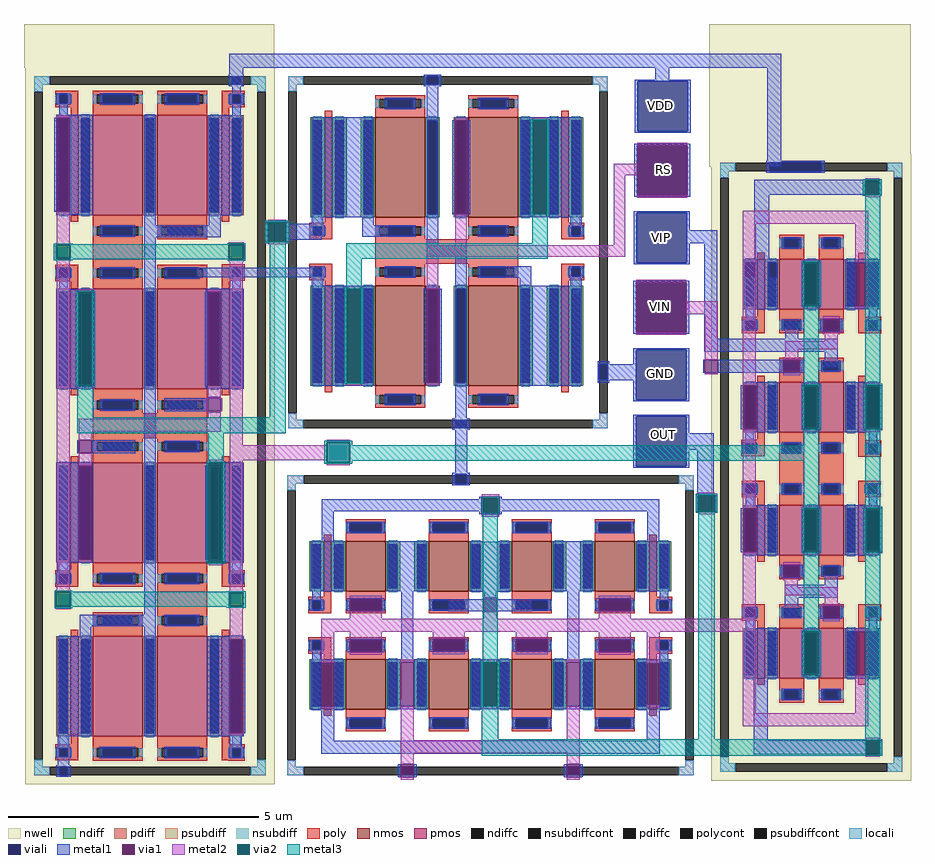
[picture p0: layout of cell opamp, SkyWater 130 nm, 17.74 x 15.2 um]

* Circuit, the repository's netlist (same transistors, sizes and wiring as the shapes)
** sch_path: /home/bagatraya/icpolytron/opamp/mag/opamp.sch
.subckt opamp VDD GND OUT RS VIP VIN
*.PININFO VDD:B GND:B OUT:B RS:B VIP:B VIN:B
x1 net3 net2 RS GND nmoscs
x2 net4 OUT GND nmosdif
x3 VDD net1 net2 net3 pmoscs
x4 VDD net1 VIN VIP net4 OUT pmosdif
.ends

* expanding   symbol:  nmoscs.sym # of pins=4
** sym_path: /home/bagatraya/icpolytron/opamp/mag/nmoscs.sym
** sch_path: /home/bagatraya/icpolytron/opamp/mag/nmoscs.sch
.subckt nmoscs D4 D3 RS GND
*.PININFO RS:B GND:B D3:B D4:B
XM3 D3 D3 GND GND sky130_fd_pr__nfet_01v8 L=1 W=2 nf=1 m=2
XM4 D4 D3 RS GND sky130_fd_pr__nfet_01v8 L=1 W=2 nf=1 m=2
XM1 D3 D3 D3 GND sky130_fd_pr__nfet_01v8 L=0.15 W=2 nf=1 m=2
XM2 D4 D4 D4 GND sky130_fd_pr__nfet_01v8 L=0.15 W=2 nf=1 m=2
.ends


* expanding   symbol:  nmosdif.sym # of pins=3
** sym_path: /home/bagatraya/icpolytron/opamp/mag/nmosdif.sym
** sch_path: /home/bagatraya/icpolytron/opamp/mag/nmosdif.sch
.subckt nmosdif D6 OUT GND
*.PININFO GND:B OUT:O D6:B
XM8 D6 D6 GND GND sky130_fd_pr__nfet_01v8 L=0.8 W=1 nf=1 m=4
XM9 OUT D6 GND GND sky130_fd_pr__nfet_01v8 L=0.8 W=1 nf=1 m=4
XM3 OUT OUT OUT GND sky130_fd_pr__nfet_01v8 L=0.15 W=1 nf=1 m=2
XM4 D6 D6 D6 GND sky130_fd_pr__nfet_01v8 L=0.15 W=1 nf=1 m=2
.ends


* expanding   symbol:  pmoscs.sym # of pins=4
** sym_path: /home/bagatraya/icpolytron/opamp/mag/pmoscs.sym
** sch_path: /home/bagatraya/icpolytron/opamp/mag/pmoscs.sch
.subckt pmoscs VDD D5 D1 D2
*.PININFO VDD:B D5:B D2:B D1:B
XM2 D2 D2 VDD VDD sky130_fd_pr__pfet_01v8 L=1 W=2 nf=1 m=2
XM1 D1 D2 VDD VDD sky130_fd_pr__pfet_01v8 L=1 W=2 nf=1 m=2
XM5 D5 D2 VDD VDD sky130_fd_pr__pfet_01v8 L=1 W=2 nf=1 m=2
XM3 D5 D5 D5 VDD sky130_fd_pr__pfet_01v8 L=0.15 W=2 nf=1 m=2
XM4 D1 D1 D1 VDD sky130_fd_pr__pfet_01v8 L=0.15 W=2 nf=1 m=2
XM6 D2 D2 D2 VDD sky130_fd_pr__pfet_01v8 L=0.15 W=2 nf=1 m=2
XM7 VDD VDD VDD VDD sky130_fd_pr__pfet_01v8 L=0.15 W=2 nf=1 m=2
XM8 VDD VDD VDD VDD sky130_fd_pr__pfet_01v8 L=1 W=2 nf=1 m=2
.ends


* expanding   symbol:  pmosdif.sym # of pins=6
** sym_path: /home/bagatraya/icpolytron/opamp/mag/pmosdif.sym
** sch_path: /home/bagatraya/icpolytron/opamp/mag/pmosdif.sch
.subckt pmosdif VDD D5 VIN VIP D6 OUT
*.PININFO VIN:I VIP:I OUT:O VDD:B D5:B D6:B
XM6 D6 VIN D5 VDD sky130_fd_pr__pfet_01v8 L=0.5 W=1 nf=1 m=4
XM7 OUT VIP D5 VDD sky130_fd_pr__pfet_01v8 L=0.5 W=1 nf=1 m=4
XM1 D6 D6 D6 VDD sky130_fd_pr__pfet_01v8 L=0.15 W=1 nf=1 m=4
XM2 OUT OUT OUT VDD sky130_fd_pr__pfet_01v8 L=0.15 W=1 nf=1 m=4
.ends

.end

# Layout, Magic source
magic
tech sky130A
magscale 1 2
<< nwell >>
rect -323 2866 678 3039
rect 2418 2469 3224 3040
<< viali >>
rect 2131 2612 2331 2812
rect 2130 2355 2330 2555
rect 2127 2085 2327 2285
rect 2125 1807 2325 2007
rect 1977 1617 2012 1679
rect 2125 1537 2325 1737
rect 2125 1271 2325 1471
rect 1402 1202 1448 1239
<< metal1 >>
rect 498 2866 2706 2922
rect 498 2798 554 2866
rect 2201 2818 2257 2866
rect 2119 2812 2343 2818
rect 2119 2612 2131 2812
rect 2331 2612 2343 2812
rect 2119 2606 2343 2612
rect 2118 2555 2342 2561
rect 2118 2355 2130 2555
rect 2330 2355 2342 2555
rect 2650 2470 2706 2866
rect 2118 2349 2342 2355
rect 2115 2285 2339 2291
rect 642 2169 652 2248
rect 726 2241 736 2248
rect 726 2178 868 2241
rect 726 2169 736 2178
rect 2115 2085 2127 2285
rect 2327 2215 2339 2285
rect 2327 2163 2450 2215
rect 2327 2085 2339 2163
rect 2115 2079 2339 2085
rect 368 2028 884 2066
rect 2113 2007 2337 2013
rect 2113 1807 2125 2007
rect 2325 1807 2337 2007
rect 2113 1801 2337 1807
rect 2398 1781 2450 2163
rect 2113 1737 2337 1743
rect 1971 1679 2018 1691
rect 2113 1679 2125 1737
rect 1971 1617 1977 1679
rect 2012 1617 2125 1679
rect 1971 1615 2125 1617
rect 1971 1605 2018 1615
rect 2113 1537 2125 1615
rect 2325 1537 2337 1737
rect 2398 1729 2773 1781
rect 2393 1646 2399 1698
rect 2451 1646 2797 1698
rect 2113 1531 2337 1537
rect 2113 1471 2337 1477
rect 1402 1245 1450 1458
rect 2113 1271 2125 1471
rect 2325 1404 2337 1471
rect 2325 1338 2436 1404
rect 2325 1271 2337 1338
rect 2113 1265 2337 1271
rect 1390 1239 1460 1245
rect 1390 1202 1402 1239
rect 1448 1202 1460 1239
rect 1390 1196 1460 1202
rect 2370 1156 2436 1338
rect 2363 1090 2373 1156
rect 2439 1090 2449 1156
<< via1 >>
rect 2130 2355 2330 2555
rect 652 2169 726 2248
rect 2125 1807 2325 2007
rect 2399 1646 2451 1698
rect 2373 1090 2439 1156
<< metal2 >>
rect 2130 2555 2330 2565
rect 2035 2435 2130 2481
rect 652 2248 726 2258
rect 652 2159 726 2169
rect 2035 2156 2081 2435
rect 2130 2345 2330 2355
rect 1402 2110 2081 2156
rect 2125 2007 2325 2017
rect 2325 1879 2451 1931
rect 2125 1797 2325 1807
rect 2399 1698 2451 1879
rect 2721 1739 2772 1772
rect 2399 1640 2451 1646
rect 887 1368 980 1378
rect 507 1295 887 1356
rect 887 1276 980 1286
rect 2373 1156 2439 1166
rect 2369 1095 2373 1151
rect 2439 1095 2443 1151
rect 2373 1080 2439 1090
rect 2167 610 2603 662
<< via2 >>
rect 652 2169 726 2248
rect 887 1286 980 1368
rect 2373 1090 2439 1156
<< metal3 >>
rect 642 2248 736 2253
rect 642 2169 652 2248
rect 726 2169 736 2248
rect 642 2164 736 2169
rect 660 1467 723 2164
rect 413 1404 723 1467
rect 877 1368 990 1373
rect 877 1286 887 1368
rect 980 1355 990 1368
rect 980 1294 2856 1355
rect 980 1286 990 1294
rect 877 1281 990 1286
rect 2363 1156 2449 1161
rect 2363 1090 2373 1156
rect 2439 1090 2449 1156
rect 2363 1085 2449 1090
rect 1508 180 1574 312
rect 2373 180 2439 1085
rect 1508 114 3044 180
use nmoscs  nmoscs_0
transform 1 0 1024 0 1 2233
box -290 -815 988 605
use nmosdif  nmosdif_0
transform 1 0 906 0 1 684
box -176 -666 1450 552
use pmoscs  pmoscs_0
transform 1 0 -353 0 1 480
box 34 -480 1032 2387
use pmosdif  pmosdif_0
transform 1 0 2101 0 1 1610
box 324 -1596 1124 912
<< labels >>
flabel viali 2232 1397 2234 1398 0 FreeSans 800 0 0 0 OUT
port 0 nsew
flabel viali 2221 1640 2223 1641 0 FreeSans 800 0 0 0 GND
port 1 nsew
flabel via1 2222 1912 2222 1912 0 FreeSans 800 0 0 0 VIN
port 2 nsew
flabel viali 2127 2085 2327 2285 0 FreeSans 800 0 0 0 VIP
port 3 nsew
flabel via1 2234 2458 2234 2458 0 FreeSans 800 0 0 0 RS
port 4 nsew
flabel viali 2224 2716 2224 2716 0 FreeSans 800 0 0 0 VDD
port 6 nsew
<< end >>

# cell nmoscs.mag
magic
tech sky130A
magscale 1 2
<< psubdiff >>
rect -290 565 -230 599
rect 928 565 988 599
rect -290 539 -256 565
rect 954 539 988 565
rect -290 -775 -256 -749
rect 954 -775 988 -749
rect -290 -809 -230 -775
rect 928 -809 988 -775
<< psubdiffcont >>
rect -230 565 928 599
rect -290 -749 -256 539
rect 954 -749 988 539
rect -230 -809 928 -775
<< poly >>
rect -144 12 -114 34
rect -206 -4 -114 12
rect -206 -38 -190 -4
rect -156 -38 -114 -4
rect -206 -54 -114 -38
rect 802 12 832 34
rect 802 -4 894 12
rect 802 -38 844 -4
rect 878 -38 894 -4
rect 802 -54 894 -38
rect 58 -151 630 -54
rect -206 -167 -114 -151
rect -206 -201 -190 -167
rect -156 -201 -114 -167
rect -206 -217 -114 -201
rect -144 -239 -114 -217
rect 802 -167 894 -151
rect 802 -201 844 -167
rect 878 -201 894 -167
rect 802 -217 894 -201
rect 802 -243 832 -217
<< polycont >>
rect -190 -38 -156 -4
rect 844 -38 878 -4
rect -190 -201 -156 -167
rect 844 -201 878 -167
<< locali >>
rect -290 565 -230 599
rect 928 565 988 599
rect -290 539 -256 565
rect 954 539 988 565
rect -190 -4 -156 34
rect 844 -4 878 34
rect -206 -38 -190 -4
rect -156 -38 -140 -4
rect 828 -38 844 -4
rect 878 -38 894 -4
rect -206 -201 -190 -167
rect -156 -201 -140 -167
rect 828 -201 844 -167
rect 878 -201 894 -167
rect -190 -239 -156 -201
rect 844 -269 878 -201
rect -290 -775 -256 -749
rect 954 -775 988 -749
rect -290 -809 -230 -775
rect 928 -809 988 -775
<< viali >>
rect 264 565 310 599
rect -190 -38 -156 -4
rect 844 -38 878 -4
rect -190 -201 -156 -167
rect 844 -201 878 -167
rect 378 -809 424 -775
<< metal1 >>
rect 252 599 322 605
rect 252 565 264 599
rect 310 565 322 599
rect 252 559 322 565
rect 264 434 310 559
rect -196 34 52 434
rect 636 422 884 434
rect 365 46 375 422
rect 427 46 437 422
rect 636 46 688 422
rect 744 46 884 422
rect 636 34 884 46
rect -196 2 -150 34
rect 6 2 52 34
rect -202 -4 -144 2
rect -202 -38 -190 -4
rect -156 -38 -144 -4
rect -202 -44 -144 -38
rect 6 -44 109 2
rect 264 -78 310 34
rect 838 2 884 34
rect 832 -4 890 2
rect 832 -38 844 -4
rect 878 -38 890 -4
rect 832 -44 890 -38
rect 264 -124 424 -78
rect -202 -167 -144 -161
rect -202 -201 -190 -167
rect -156 -201 -144 -167
rect -202 -207 -144 -201
rect -196 -239 -150 -207
rect 378 -239 424 -124
rect 592 -207 682 -161
rect 832 -167 890 -161
rect 832 -201 844 -167
rect 878 -201 890 -167
rect 832 -207 890 -201
rect 636 -239 682 -207
rect 838 -239 884 -207
rect -196 -251 52 -239
rect -196 -627 -56 -251
rect 0 -627 52 -251
rect 251 -627 261 -251
rect 313 -627 323 -251
rect -196 -639 52 -627
rect 636 -639 884 -239
rect 378 -769 424 -639
rect 366 -775 436 -769
rect 366 -809 378 -775
rect 424 -809 436 -775
rect 366 -815 436 -809
<< via1 >>
rect 375 46 427 422
rect 688 46 744 422
rect -56 -627 0 -251
rect 261 -627 313 -251
<< metal2 >>
rect 375 422 427 432
rect 375 36 427 46
rect 688 422 744 432
rect 688 36 744 46
rect 378 -78 424 36
rect 264 -124 424 -78
rect 264 -241 310 -124
rect -56 -251 0 -241
rect -56 -637 0 -627
rect 261 -251 313 -241
rect 261 -637 313 -627
<< via2 >>
rect 688 46 744 422
rect -56 -627 0 -251
<< metal3 >>
rect 678 422 754 427
rect 678 46 688 422
rect 744 46 754 422
rect 678 41 754 46
rect 685 -70 747 41
rect -59 -132 747 -70
rect -59 -246 3 -132
rect -66 -251 10 -246
rect -66 -627 -56 -251
rect 0 -627 10 -251
rect -66 -632 10 -627
use sky130_fd_pr__nfet_01v8_6C7GCL  sky130_fd_pr__nfet_01v8_6C7GCL_0
transform 1 0 -129 0 1 234
box -73 -226 73 226
use sky130_fd_pr__nfet_01v8_6C7GCL  sky130_fd_pr__nfet_01v8_6C7GCL_1
transform 1 0 817 0 1 234
box -73 -226 73 226
use sky130_fd_pr__nfet_01v8_6C7GCL  sky130_fd_pr__nfet_01v8_6C7GCL_2
transform 1 0 -129 0 1 -439
box -73 -226 73 226
use sky130_fd_pr__nfet_01v8_6C7GCL  sky130_fd_pr__nfet_01v8_6C7GCL_3
transform 1 0 817 0 1 -439
box -73 -226 73 226
use sky130_fd_pr__nfet_01v8_8UM39F  sky130_fd_pr__nfet_01v8_8UM39F_0
transform 1 0 344 0 1 234
box -344 -288 344 288
use sky130_fd_pr__nfet_01v8_8UM39F  sky130_fd_pr__nfet_01v8_8UM39F_1
transform 1 0 344 0 1 -439
box -344 -288 344 288
<< labels >>
flabel metal3 725 -20 725 -20 0 FreeSans 800 0 0 0 D4
port 0 nsew
flabel metal1 27 1 27 1 0 FreeSans 800 0 0 0 D3
port 1 nsew
flabel metal2 401 -14 401 -14 0 FreeSans 800 0 0 0 RS
port 2 nsew
flabel metal1 288 501 288 501 0 FreeSans 800 0 0 0 GND
port 3 nsew
<< end >>

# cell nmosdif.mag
magic
tech sky130A
magscale 1 2
<< psubdiff >>
rect -176 518 -111 552
rect 1390 518 1450 552
rect -176 492 -142 518
rect 1416 492 1450 518
rect -176 -614 -142 -588
rect 1416 -614 1450 -588
rect -176 -648 -111 -614
rect 1390 -648 1450 -614
<< psubdiffcont >>
rect -111 518 1390 552
rect -176 -588 -142 492
rect 1416 -588 1450 492
rect -111 -648 1390 -614
<< poly >>
rect -30 66 0 88
rect -92 50 0 66
rect -92 16 -76 50
rect -42 16 0 50
rect -92 0 0 16
rect 1272 66 1302 88
rect 1272 50 1364 66
rect 1272 16 1314 50
rect 1348 16 1364 50
rect 1272 0 1364 16
rect -30 -1 0 0
rect -92 -112 0 -96
rect -92 -146 -76 -112
rect -42 -146 0 -112
rect -92 -162 0 -146
rect -30 -184 0 -162
rect 1272 -112 1364 -96
rect 1272 -146 1314 -112
rect 1348 -146 1364 -112
rect 1272 -162 1364 -146
rect 1272 -184 1302 -162
<< polycont >>
rect -76 16 -42 50
rect 1314 16 1348 50
rect -76 -146 -42 -112
rect 1314 -146 1348 -112
<< locali >>
rect -176 518 -111 552
rect 1390 518 1450 552
rect -176 492 -142 518
rect 1416 492 1450 518
rect -76 50 -42 100
rect 1314 50 1348 100
rect -92 16 -76 50
rect -42 16 -26 50
rect 1298 16 1314 50
rect 1348 16 1364 50
rect -92 -146 -76 -112
rect -42 -146 -26 -112
rect 1298 -146 1314 -112
rect 1348 -146 1364 -112
rect -76 -186 -42 -146
rect 1314 -196 1348 -146
rect -176 -614 -142 -588
rect 1416 -614 1450 -588
rect -176 -648 -111 -614
rect 1390 -648 1450 -614
<< viali >>
rect -76 16 -42 50
rect 1314 16 1348 50
rect -76 -146 -42 -112
rect 1314 -146 1348 -112
rect 277 -614 330 -613
rect 941 -614 994 -613
rect 277 -648 330 -614
rect 941 -648 994 -614
<< metal1 >>
rect 591 455 601 466
rect -39 407 601 455
rect -39 288 9 407
rect 591 396 601 407
rect 671 455 681 466
rect 1064 455 1312 456
rect 671 407 1312 455
rect 671 396 681 407
rect 1263 288 1312 407
rect -82 88 52 288
rect 224 88 384 288
rect -76 56 -42 88
rect -88 50 -30 56
rect -88 16 -76 50
rect -42 16 -30 50
rect -88 10 -30 16
rect 64 7 74 59
rect 202 7 212 59
rect -88 -112 -30 -106
rect -88 -146 -76 -112
rect -42 -146 -30 -112
rect -88 -152 -30 -146
rect -76 -186 -42 -152
rect 64 -157 74 -105
rect 202 -157 212 -105
rect 280 -184 328 88
rect 556 86 716 286
rect 888 88 1048 288
rect 1220 88 1354 288
rect 612 57 660 86
rect 604 55 610 57
rect 470 7 610 55
rect 604 5 610 7
rect 662 55 668 57
rect 662 7 801 55
rect 662 5 668 7
rect 396 -155 406 -103
rect 534 -155 544 -103
rect 728 -155 738 -103
rect 866 -155 876 -103
rect 944 -184 992 88
rect 1060 7 1070 59
rect 1198 7 1208 59
rect 1314 56 1348 88
rect 1302 50 1360 56
rect 1302 16 1314 50
rect 1348 16 1360 50
rect 1302 10 1360 16
rect 1060 -157 1070 -105
rect 1198 -157 1208 -105
rect 1302 -112 1360 -106
rect 1302 -146 1314 -112
rect 1348 -146 1360 -112
rect 1302 -152 1360 -146
rect -82 -198 52 -186
rect -82 -374 -41 -198
rect 11 -374 52 -198
rect -82 -386 52 -374
rect 224 -196 384 -184
rect 224 -372 278 -196
rect 330 -372 384 -196
rect 224 -384 384 -372
rect 556 -196 716 -184
rect 556 -372 608 -196
rect 664 -372 716 -196
rect 556 -384 716 -372
rect 888 -196 1048 -184
rect 1314 -186 1348 -152
rect 888 -372 942 -196
rect 994 -372 1048 -196
rect 888 -384 1048 -372
rect 1220 -200 1354 -186
rect 1220 -367 1261 -200
rect 1313 -367 1354 -200
rect 1220 -386 1354 -367
rect -41 -510 11 -386
rect 1261 -510 1313 -386
rect -41 -562 1313 -510
rect 267 -607 277 -604
rect 265 -654 277 -607
rect 329 -607 339 -604
rect 932 -607 942 -604
rect 329 -613 342 -607
rect 330 -648 342 -613
rect 267 -656 277 -654
rect 329 -654 342 -648
rect 929 -613 942 -607
rect 994 -607 1004 -604
rect 929 -648 941 -613
rect 929 -654 942 -648
rect 329 -656 339 -654
rect 932 -656 942 -654
rect 994 -654 1006 -607
rect 994 -656 1004 -654
<< via1 >>
rect 601 396 671 466
rect 74 7 202 59
rect 74 -157 202 -105
rect 610 5 662 57
rect 406 -155 534 -103
rect 738 -155 866 -103
rect 1070 7 1198 59
rect 1070 -157 1198 -105
rect -41 -374 11 -198
rect 278 -372 330 -196
rect 608 -372 664 -196
rect 942 -372 994 -196
rect 1261 -367 1313 -200
rect 277 -613 329 -604
rect 277 -648 329 -613
rect 277 -656 329 -648
rect 942 -613 994 -604
rect 942 -648 994 -613
rect 942 -656 994 -648
<< metal2 >>
rect 601 466 671 476
rect 601 386 671 396
rect 74 59 202 69
rect 74 -22 202 7
rect 610 57 662 63
rect 610 -22 662 5
rect 1070 59 1198 69
rect 1070 -22 1198 7
rect -41 -74 1313 -22
rect -41 -198 11 -74
rect 74 -105 202 -74
rect 74 -167 202 -157
rect 406 -103 534 -74
rect 406 -165 534 -155
rect 738 -103 866 -74
rect 738 -165 866 -155
rect 1070 -105 1198 -74
rect 1070 -167 1198 -157
rect 278 -196 330 -186
rect -41 -382 11 -374
rect 277 -372 278 -348
rect 277 -382 330 -372
rect 608 -196 664 -186
rect 608 -382 664 -372
rect 942 -196 994 -186
rect 277 -509 329 -382
rect 942 -509 994 -372
rect 1261 -200 1313 -74
rect 1261 -378 1313 -367
rect 277 -561 994 -509
rect 277 -604 329 -561
rect 277 -666 329 -656
rect 942 -604 994 -561
rect 942 -666 994 -656
<< via2 >>
rect 606 401 666 461
rect 608 -372 664 -196
<< metal3 >>
rect 601 461 671 466
rect 601 401 606 461
rect 666 401 671 461
rect 601 396 671 401
rect 606 -191 666 396
rect 598 -196 674 -191
rect 598 -372 608 -196
rect 664 -372 674 -196
rect 598 -377 674 -372
use sky130_fd_pr__nfet_01v8_6H9P4D  sky130_fd_pr__nfet_01v8_6H9P4D_0
transform 1 0 -15 0 1 188
box -73 -126 73 126
use sky130_fd_pr__nfet_01v8_6H9P4D  sky130_fd_pr__nfet_01v8_6H9P4D_1
transform 1 0 -15 0 1 -284
box -73 -126 73 126
use sky130_fd_pr__nfet_01v8_6H9P4D  sky130_fd_pr__nfet_01v8_6H9P4D_2
transform 1 0 1287 0 1 188
box -73 -126 73 126
use sky130_fd_pr__nfet_01v8_6H9P4D  sky130_fd_pr__nfet_01v8_6H9P4D_3
transform 1 0 1287 0 1 -284
box -73 -126 73 126
use sky130_fd_pr__nfet_01v8_DB328X  sky130_fd_pr__nfet_01v8_DB328X_0
transform 1 0 636 0 1 188
box -636 -188 636 188
use sky130_fd_pr__nfet_01v8_DB328X  sky130_fd_pr__nfet_01v8_DB328X_1
transform 1 0 636 0 1 -284
box -636 -188 636 188
<< labels >>
flabel metal3 632 -135 632 -135 0 FreeSans 480 0 0 0 OUT
port 1 nsew
flabel metal2 135 -48 135 -48 0 FreeSans 480 0 0 0 D6
port 2 nsew
flabel metal2 968 -454 968 -454 0 FreeSans 480 0 0 0 GND
port 0 nsew
<< end >>

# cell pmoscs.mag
magic
tech sky130A
magscale 1 2
<< nwell >>
rect 34 -480 1032 2387
<< nsubdiff >>
rect 70 2317 132 2351
rect 936 2317 996 2351
rect 70 2289 104 2317
rect 962 2289 996 2317
rect 70 -410 104 -382
rect 962 -410 996 -382
rect 70 -444 132 -410
rect 936 -444 996 -410
<< nsubdiffcont >>
rect 132 2317 936 2351
rect 70 -382 104 2289
rect 962 -382 996 2289
rect 132 -444 936 -410
<< poly >>
rect 154 2277 246 2293
rect 154 2243 170 2277
rect 204 2243 246 2277
rect 154 2227 246 2243
rect 216 2196 246 2227
rect 820 2277 912 2293
rect 820 2243 862 2277
rect 896 2243 912 2277
rect 820 2227 912 2243
rect 820 2196 850 2227
rect 304 1598 504 1699
rect 154 1582 246 1598
rect 154 1548 170 1582
rect 204 1548 246 1582
rect 154 1532 246 1548
rect 216 1501 246 1532
rect 820 1583 912 1599
rect 820 1549 862 1583
rect 896 1549 912 1583
rect 820 1533 912 1549
rect 820 1502 850 1533
rect 304 903 762 1004
rect 216 375 246 406
rect 154 359 246 375
rect 154 325 170 359
rect 204 325 246 359
rect 154 309 246 325
rect 820 375 850 406
rect 820 359 912 375
rect 820 325 862 359
rect 896 325 912 359
rect 820 309 912 325
rect 562 208 762 309
rect 216 -320 246 -278
rect 154 -336 246 -320
rect 154 -370 170 -336
rect 204 -370 246 -336
rect 154 -385 246 -370
rect 820 -320 850 -289
rect 820 -336 912 -320
rect 820 -370 862 -336
rect 896 -370 912 -336
rect 820 -385 912 -370
rect 846 -386 912 -385
<< polycont >>
rect 170 2243 204 2277
rect 862 2243 896 2277
rect 170 1548 204 1582
rect 862 1549 896 1583
rect 170 325 204 359
rect 862 325 896 359
rect 170 -370 204 -336
rect 862 -370 896 -336
<< locali >>
rect 70 2317 132 2351
rect 936 2317 996 2351
rect 70 2289 104 2317
rect 962 2289 996 2317
rect 154 2243 170 2277
rect 204 2243 220 2277
rect 846 2243 862 2277
rect 896 2243 912 2277
rect 170 2196 204 2243
rect 862 2200 896 2243
rect 158 1796 218 2196
rect 154 1548 170 1582
rect 204 1548 220 1582
rect 846 1549 862 1583
rect 896 1549 912 1583
rect 170 1502 204 1548
rect 862 1502 896 1549
rect 160 1102 212 1502
rect 246 1102 306 1502
rect 766 1102 818 1502
rect 854 1102 906 1502
rect 160 408 212 808
rect 250 408 302 808
rect 768 408 820 808
rect 170 359 204 408
rect 862 359 896 418
rect 154 325 170 359
rect 204 325 220 359
rect 846 325 862 359
rect 896 325 912 359
rect 170 -336 204 -277
rect 850 -288 902 112
rect 862 -336 896 -288
rect 154 -370 170 -336
rect 204 -370 220 -336
rect 846 -370 862 -336
rect 896 -370 912 -336
rect 70 -410 104 -382
rect 962 -410 996 -382
rect 70 -444 132 -410
rect 936 -444 996 -410
<< viali >>
rect 861 2351 896 2352
rect 861 2317 896 2351
rect 170 2243 204 2277
rect 862 2243 896 2277
rect 170 1548 204 1582
rect 862 1549 896 1583
rect 170 325 204 359
rect 862 325 896 359
rect 170 -370 204 -336
rect 862 -370 896 -336
rect 170 -444 204 -410
<< metal1 >>
rect 849 2352 908 2358
rect 849 2317 861 2352
rect 896 2317 908 2352
rect 849 2311 908 2317
rect 862 2283 896 2311
rect 158 2277 216 2283
rect 158 2243 170 2277
rect 204 2243 216 2277
rect 158 2237 216 2243
rect 850 2277 908 2283
rect 850 2243 862 2277
rect 896 2243 908 2277
rect 850 2237 908 2243
rect 170 2198 204 2237
rect 165 2197 216 2198
rect 158 2185 304 2197
rect 151 1809 161 2185
rect 213 1809 304 2185
rect 158 1797 304 1809
rect 510 1756 556 2198
rect 862 2196 896 2237
rect 768 1796 902 2196
rect 768 1756 816 1796
rect 510 1708 816 1756
rect 158 1582 216 1588
rect 158 1548 170 1582
rect 204 1548 216 1582
rect 158 1542 216 1548
rect 170 1501 204 1542
rect 159 1488 306 1500
rect 159 1112 248 1488
rect 300 1112 310 1488
rect 159 1102 306 1112
rect 243 844 249 896
rect 301 844 475 896
rect 158 794 305 808
rect 158 418 249 794
rect 301 418 305 794
rect 158 407 305 418
rect 163 406 215 407
rect 248 406 304 407
rect 164 365 215 406
rect 158 359 216 365
rect 158 325 170 359
rect 204 325 216 359
rect 158 319 216 325
rect 510 198 556 1708
rect 850 1583 908 1589
rect 850 1549 862 1583
rect 896 1549 908 1583
rect 850 1543 908 1549
rect 862 1502 896 1543
rect 762 1501 908 1502
rect 756 1489 908 1501
rect 755 1113 765 1489
rect 817 1113 908 1489
rect 756 1101 908 1113
rect 765 1063 817 1069
rect 591 1011 765 1063
rect 765 1005 817 1011
rect 850 806 901 807
rect 761 794 908 806
rect 754 418 764 794
rect 816 418 908 794
rect 761 407 908 418
rect 850 406 904 407
rect 851 365 904 406
rect 850 359 908 365
rect 850 325 862 359
rect 896 325 908 359
rect 850 319 908 325
rect 252 152 556 198
rect 252 111 298 152
rect 164 -289 298 111
rect 510 -289 556 152
rect 853 111 901 115
rect 762 100 908 111
rect 762 -276 853 100
rect 905 -276 915 100
rect 762 -289 908 -276
rect 164 -330 210 -289
rect 853 -330 901 -289
rect 158 -336 216 -330
rect 158 -370 170 -336
rect 204 -370 216 -336
rect 158 -376 216 -370
rect 850 -336 908 -330
rect 850 -370 862 -336
rect 896 -370 908 -336
rect 850 -376 908 -370
rect 165 -404 210 -376
rect 158 -410 216 -404
rect 158 -444 170 -410
rect 204 -444 216 -410
rect 158 -450 216 -444
<< via1 >>
rect 161 1809 213 2185
rect 248 1112 300 1488
rect 249 844 301 896
rect 249 418 301 794
rect 765 1113 817 1489
rect 765 1011 817 1063
rect 764 418 816 794
rect 853 -276 905 100
<< metal2 >>
rect 161 2185 213 2195
rect 161 1687 213 1809
rect 159 1677 215 1687
rect 159 1611 215 1621
rect 849 1679 909 1688
rect 160 298 212 1611
rect 849 1610 909 1619
rect 247 1489 303 1499
rect 247 1112 248 1113
rect 300 1112 303 1113
rect 247 1103 303 1112
rect 765 1489 817 1499
rect 248 1102 300 1103
rect 765 1063 817 1113
rect 759 1011 765 1063
rect 817 1011 823 1063
rect 765 981 817 1011
rect 249 929 817 981
rect 249 896 301 929
rect 249 794 301 844
rect 768 807 825 817
rect 249 408 301 418
rect 764 794 768 804
rect 764 408 768 418
rect 768 396 825 406
rect 157 289 217 298
rect 853 297 905 1610
rect 157 220 217 229
rect 851 287 907 297
rect 851 221 907 231
rect 853 100 905 221
rect 853 -284 905 -276
<< via2 >>
rect 159 1621 215 1677
rect 849 1619 909 1679
rect 247 1488 303 1489
rect 247 1113 248 1488
rect 248 1113 300 1488
rect 300 1113 303 1488
rect 768 794 825 807
rect 768 418 816 794
rect 816 418 825 794
rect 768 406 825 418
rect 157 229 217 289
rect 851 231 907 287
<< metal3 >>
rect 149 1679 225 1682
rect 844 1679 914 1684
rect 149 1677 849 1679
rect 149 1621 159 1677
rect 215 1621 849 1677
rect 149 1619 849 1621
rect 909 1619 914 1679
rect 149 1616 225 1619
rect 844 1614 914 1619
rect 237 1489 313 1494
rect 237 1113 247 1489
rect 303 1113 313 1489
rect 237 1108 313 1113
rect 243 987 306 1108
rect 243 924 829 987
rect 766 812 829 924
rect 758 807 835 812
rect 758 406 768 807
rect 825 406 835 807
rect 758 401 835 406
rect 152 289 222 294
rect 841 289 917 292
rect 152 229 157 289
rect 217 287 917 289
rect 217 231 851 287
rect 907 231 917 287
rect 217 229 917 231
rect 152 224 222 229
rect 841 226 917 229
use sky130_fd_pr__pfet_01v8_2ZH9AN  sky130_fd_pr__pfet_01v8_2ZH9AN_0
transform 1 0 231 0 1 606
box -109 -262 109 262
use sky130_fd_pr__pfet_01v8_2ZH9AN  sky130_fd_pr__pfet_01v8_2ZH9AN_1
transform 1 0 231 0 1 -89
box -109 -262 109 262
use sky130_fd_pr__pfet_01v8_2ZH9AN  sky130_fd_pr__pfet_01v8_2ZH9AN_2
transform 1 0 835 0 1 -89
box -109 -262 109 262
use sky130_fd_pr__pfet_01v8_2ZH9AN  sky130_fd_pr__pfet_01v8_2ZH9AN_3
transform 1 0 835 0 1 606
box -109 -262 109 262
use sky130_fd_pr__pfet_01v8_2ZH9AN  sky130_fd_pr__pfet_01v8_2ZH9AN_4
transform 1 0 835 0 1 1301
box -109 -262 109 262
use sky130_fd_pr__pfet_01v8_2ZH9AN  sky130_fd_pr__pfet_01v8_2ZH9AN_5
transform 1 0 835 0 1 1996
box -109 -262 109 262
use sky130_fd_pr__pfet_01v8_2ZH9AN  sky130_fd_pr__pfet_01v8_2ZH9AN_6
transform 1 0 231 0 1 1996
box -109 -262 109 262
use sky130_fd_pr__pfet_01v8_2ZH9AN  sky130_fd_pr__pfet_01v8_2ZH9AN_7
transform 1 0 231 0 1 1301
box -109 -262 109 262
use sky130_fd_pr__pfet_01v8_SDE6B7  sky130_fd_pr__pfet_01v8_SDE6B7_0
transform 1 0 533 0 1 1996
box -323 -300 323 300
use sky130_fd_pr__pfet_01v8_SDE6B7  sky130_fd_pr__pfet_01v8_SDE6B7_1
transform 1 0 533 0 1 1301
box -323 -300 323 300
use sky130_fd_pr__pfet_01v8_SDE6B7  sky130_fd_pr__pfet_01v8_SDE6B7_2
transform 1 0 533 0 1 606
box -323 -300 323 300
use sky130_fd_pr__pfet_01v8_SDE6B7  sky130_fd_pr__pfet_01v8_SDE6B7_3
transform 1 0 533 0 1 -89
box -323 -300 323 300
<< labels >>
flabel metal3 782 862 782 862 0 FreeSans 800 0 0 0 D1
port 2 nsew
flabel metal1 878 2302 878 2302 0 FreeSans 800 0 0 0 VDD
port 4 nsew
flabel via1 792 1048 792 1048 0 FreeSans 800 0 0 0 D2
port 1 nsew
flabel metal2 880 904 880 904 0 FreeSans 800 0 0 0 D5
port 0 nsew
<< end >>

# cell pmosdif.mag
magic
tech sky130A
magscale 1 2
<< nwell >>
rect 324 -1596 1124 912
<< nsubdiff >>
rect 360 842 420 876
rect 1028 842 1088 876
rect 360 816 394 842
rect 1054 816 1088 842
rect 360 -1526 394 -1500
rect 1054 -1526 1088 -1500
rect 360 -1560 420 -1526
rect 1028 -1560 1088 -1526
<< nsubdiffcont >>
rect 420 842 1028 876
rect 360 -1500 394 816
rect 1054 -1500 1088 816
rect 420 -1560 1028 -1526
<< poly >>
rect 508 259 538 289
rect 447 243 538 259
rect 447 209 463 243
rect 497 209 538 243
rect 447 193 538 209
rect 912 259 942 301
rect 912 243 1004 259
rect 912 209 954 243
rect 988 209 1004 243
rect 912 193 1004 209
rect 508 -233 538 -203
rect 445 -249 538 -233
rect 445 -283 461 -249
rect 495 -283 538 -249
rect 445 -299 538 -283
rect 912 -234 942 -202
rect 912 -250 1004 -234
rect 912 -284 954 -250
rect 988 -284 1004 -250
rect 596 -397 696 -299
rect 754 -397 854 -299
rect 912 -300 1004 -284
rect 446 -413 538 -397
rect 446 -447 462 -413
rect 496 -447 538 -413
rect 446 -463 538 -447
rect 508 -494 538 -463
rect 912 -413 1003 -397
rect 912 -447 953 -413
rect 987 -447 1003 -413
rect 912 -463 1003 -447
rect 912 -494 942 -463
rect 446 -906 538 -890
rect 446 -940 462 -906
rect 496 -940 538 -906
rect 446 -956 538 -940
rect 508 -987 538 -956
rect 912 -906 1004 -890
rect 912 -940 954 -906
rect 988 -940 1004 -906
rect 912 -956 1004 -940
rect 912 -987 942 -956
<< polycont >>
rect 463 209 497 243
rect 954 209 988 243
rect 461 -283 495 -249
rect 954 -284 988 -250
rect 462 -447 496 -413
rect 953 -447 987 -413
rect 462 -940 496 -906
rect 954 -940 988 -906
<< locali >>
rect 360 842 420 876
rect 1028 842 1088 876
rect 360 816 394 842
rect 1054 816 1088 842
rect 462 243 497 302
rect 954 243 988 302
rect 447 209 463 243
rect 497 209 513 243
rect 938 209 954 243
rect 988 209 1004 243
rect 461 -249 495 -190
rect 445 -283 461 -249
rect 495 -283 511 -249
rect 954 -250 988 -190
rect 938 -284 954 -250
rect 988 -284 1004 -250
rect 446 -447 462 -413
rect 496 -447 512 -413
rect 937 -447 953 -413
rect 987 -447 1003 -413
rect 462 -506 496 -447
rect 954 -506 989 -447
rect 446 -940 462 -906
rect 496 -940 512 -906
rect 938 -940 954 -906
rect 988 -940 1004 -906
rect 462 -999 496 -940
rect 954 -999 988 -940
rect 360 -1526 394 -1500
rect 1054 -1526 1088 -1500
rect 360 -1560 420 -1526
rect 1028 -1560 1088 -1526
<< viali >>
rect 557 876 767 877
rect 557 842 767 876
rect 463 209 497 243
rect 954 209 988 243
rect 461 -283 495 -249
rect 954 -284 988 -250
rect 462 -447 496 -413
rect 953 -447 987 -413
rect 462 -940 496 -906
rect 954 -940 988 -906
<< metal1 >>
rect 545 877 779 883
rect 545 842 557 877
rect 767 842 779 877
rect 545 836 779 842
rect 496 804 1002 808
rect 496 748 941 804
rect 997 748 1007 804
rect 496 418 556 748
rect 860 478 994 490
rect 456 289 590 418
rect 687 302 697 478
rect 753 302 763 478
rect 860 302 901 478
rect 953 302 994 478
rect 860 290 994 302
rect 462 249 497 289
rect 451 243 509 249
rect 451 209 463 243
rect 497 209 509 243
rect 451 203 509 209
rect 620 171 672 243
rect 760 200 770 252
rect 838 200 848 252
rect 954 249 988 290
rect 942 243 1000 249
rect 942 209 954 243
rect 988 209 1000 243
rect 942 203 1000 209
rect 620 119 830 171
rect 602 36 612 88
rect 680 36 690 88
rect 778 57 830 119
rect 456 -14 590 -2
rect 860 -14 994 -2
rect 443 -190 453 -14
rect 505 -190 590 -14
rect 687 -190 697 -14
rect 753 -190 763 -14
rect 860 -190 943 -14
rect 999 -190 1009 -14
rect 456 -202 590 -190
rect 860 -202 994 -190
rect 461 -243 495 -202
rect 449 -249 507 -243
rect 954 -244 988 -202
rect 449 -283 461 -249
rect 495 -283 507 -249
rect 449 -289 507 -283
rect 942 -250 1000 -244
rect 942 -284 954 -250
rect 988 -284 1000 -250
rect 942 -290 1000 -284
rect 450 -413 508 -407
rect 450 -447 462 -413
rect 496 -447 508 -413
rect 450 -453 508 -447
rect 941 -413 999 -407
rect 941 -447 953 -413
rect 987 -447 999 -413
rect 941 -453 999 -447
rect 462 -494 496 -453
rect 954 -494 989 -453
rect 456 -506 590 -494
rect 860 -506 994 -494
rect 443 -682 453 -506
rect 505 -682 590 -506
rect 687 -682 697 -506
rect 753 -682 763 -506
rect 860 -682 943 -506
rect 999 -682 1009 -506
rect 456 -694 590 -682
rect 860 -694 994 -682
rect 602 -784 612 -732
rect 680 -784 690 -732
rect 779 -812 831 -775
rect 619 -864 830 -812
rect 619 -898 673 -864
rect 450 -906 508 -900
rect 450 -940 462 -906
rect 496 -940 508 -906
rect 450 -946 508 -940
rect 462 -987 496 -946
rect 616 -947 676 -898
rect 760 -949 770 -897
rect 838 -949 848 -897
rect 942 -906 1000 -900
rect 942 -940 954 -906
rect 988 -940 1000 -906
rect 942 -946 1000 -940
rect 954 -987 988 -946
rect 456 -1187 590 -987
rect 860 -999 994 -987
rect 687 -1175 697 -999
rect 753 -1175 763 -999
rect 860 -1175 901 -999
rect 953 -1175 994 -999
rect 860 -1187 994 -1175
rect 495 -1435 551 -1187
rect 495 -1491 943 -1435
rect 999 -1491 1009 -1435
<< via1 >>
rect 941 748 997 804
rect 697 302 753 478
rect 901 302 953 478
rect 770 200 838 252
rect 612 36 680 88
rect 453 -190 505 -14
rect 697 -190 753 -14
rect 943 -190 999 -14
rect 453 -682 505 -506
rect 697 -682 753 -506
rect 943 -682 999 -506
rect 612 -784 680 -732
rect 770 -949 838 -897
rect 697 -1175 753 -999
rect 901 -1175 953 -999
rect 943 -1491 999 -1435
<< metal2 >>
rect 941 804 997 814
rect 941 739 997 748
rect 955 738 997 739
rect 451 632 953 684
rect 451 -4 503 632
rect 697 478 753 488
rect 697 292 753 302
rect 901 478 953 632
rect 901 292 953 302
rect 770 252 838 262
rect 770 190 838 200
rect 778 162 830 190
rect 620 129 830 162
rect 620 98 672 129
rect 612 88 680 98
rect 612 26 680 36
rect 451 -14 505 -4
rect 451 -190 453 -14
rect 451 -200 505 -190
rect 697 -14 753 -4
rect 697 -200 753 -190
rect 943 -14 999 -4
rect 943 -200 999 -190
rect 451 -496 503 -200
rect 451 -506 505 -496
rect 451 -682 453 -506
rect 451 -692 505 -682
rect 697 -506 753 -496
rect 697 -692 753 -682
rect 943 -506 999 -496
rect 943 -692 999 -682
rect 451 -1326 503 -692
rect 612 -732 680 -722
rect 612 -794 680 -784
rect 619 -822 671 -794
rect 619 -855 831 -822
rect 779 -887 831 -855
rect 770 -897 838 -887
rect 770 -959 838 -949
rect 697 -999 753 -989
rect 697 -1185 753 -1175
rect 901 -999 953 -989
rect 901 -1326 953 -1175
rect 451 -1378 953 -1326
rect 943 -1433 999 -1425
rect 941 -1435 1001 -1433
rect 941 -1491 943 -1435
rect 999 -1491 1001 -1435
rect 941 -1493 1001 -1491
rect 943 -1501 999 -1493
<< via2 >>
rect 941 748 997 804
rect 697 302 753 478
rect 697 -190 753 -14
rect 943 -190 999 -14
rect 697 -682 753 -506
rect 943 -682 999 -506
rect 697 -1175 753 -999
rect 943 -1491 999 -1435
<< metal3 >>
rect 931 804 1007 809
rect 931 748 941 804
rect 997 748 1007 804
rect 931 743 1007 748
rect 687 478 763 483
rect 687 302 697 478
rect 753 302 763 478
rect 687 297 763 302
rect 694 -9 755 297
rect 941 -9 1001 743
rect 687 -14 763 -9
rect 687 -190 697 -14
rect 753 -190 763 -14
rect 687 -195 763 -190
rect 933 -14 1009 -9
rect 933 -190 943 -14
rect 999 -190 1009 -14
rect 933 -195 1009 -190
rect 694 -501 755 -195
rect 941 -501 1001 -195
rect 687 -506 763 -501
rect 687 -682 697 -506
rect 753 -682 763 -506
rect 687 -687 763 -682
rect 933 -506 1009 -501
rect 933 -682 943 -506
rect 999 -682 1009 -506
rect 933 -687 1009 -682
rect 694 -994 755 -687
rect 687 -999 763 -994
rect 687 -1175 697 -999
rect 753 -1175 763 -999
rect 687 -1180 763 -1175
rect 694 -1186 755 -1180
rect 941 -1430 1001 -687
rect 933 -1435 1009 -1430
rect 933 -1491 943 -1435
rect 999 -1491 1009 -1435
rect 933 -1496 1009 -1491
rect 941 -1497 1001 -1496
use sky130_fd_pr__pfet_01v8_2XUZHN  sky130_fd_pr__pfet_01v8_2XUZHN_0
transform 1 0 927 0 1 390
box -109 -162 109 162
use sky130_fd_pr__pfet_01v8_2XUZHN  sky130_fd_pr__pfet_01v8_2XUZHN_1
transform 1 0 523 0 1 390
box -109 -162 109 162
use sky130_fd_pr__pfet_01v8_2XUZHN  sky130_fd_pr__pfet_01v8_2XUZHN_2
transform 1 0 523 0 1 -102
box -109 -162 109 162
use sky130_fd_pr__pfet_01v8_2XUZHN  sky130_fd_pr__pfet_01v8_2XUZHN_3
transform 1 0 927 0 1 -102
box -109 -162 109 162
use sky130_fd_pr__pfet_01v8_2XUZHN  sky130_fd_pr__pfet_01v8_2XUZHN_4
transform 1 0 523 0 1 -594
box -109 -162 109 162
use sky130_fd_pr__pfet_01v8_2XUZHN  sky130_fd_pr__pfet_01v8_2XUZHN_5
transform 1 0 927 0 1 -594
box -109 -162 109 162
use sky130_fd_pr__pfet_01v8_2XUZHN  sky130_fd_pr__pfet_01v8_2XUZHN_6
transform 1 0 523 0 1 -1087
box -109 -162 109 162
use sky130_fd_pr__pfet_01v8_2XUZHN  sky130_fd_pr__pfet_01v8_2XUZHN_7
transform 1 0 927 0 1 -1087
box -109 -162 109 162
use sky130_fd_pr__pfet_01v8_VQXXLL  sky130_fd_pr__pfet_01v8_VQXXLL_0
transform 1 0 725 0 1 -1087
box -223 -200 223 200
use sky130_fd_pr__pfet_01v8_VQXXLL  sky130_fd_pr__pfet_01v8_VQXXLL_1
transform 1 0 725 0 1 -594
box -223 -200 223 200
use sky130_fd_pr__pfet_01v8_VQXXLL  sky130_fd_pr__pfet_01v8_VQXXLL_2
transform 1 0 725 0 1 -102
box -223 -200 223 200
use sky130_fd_pr__pfet_01v8_VQXXLL  sky130_fd_pr__pfet_01v8_VQXXLL_3
transform 1 0 725 0 1 390
box -223 -200 223 200
<< labels >>
flabel viali 655 861 655 861 0 FreeSans 480 0 0 0 VDD
port 0 nsew
flabel metal1 644 184 644 184 0 FreeSans 480 0 0 0 VIP
port 3 nsew
flabel metal2 648 110 648 110 0 FreeSans 480 0 0 0 VIN
port 4 nsew
flabel metal3 724 38 724 38 0 FreeSans 480 0 0 0 D5
port 5 nsew
flabel metal2 612 652 612 652 0 FreeSans 480 0 0 0 D6
port 1 nsew
flabel metal3 974 710 974 710 0 FreeSans 480 0 0 0 OUT
port 2 nsew
<< end >>

# cell sky130_fd_pr__pfet_01v8_2XUZHN: kit device sky130_fd_pr__pfet_01v8, w 1 l 0.15 m 1 nf 1 diffcov 100 polycov 100 guard 0 glc 1 grc 1 gtc 1 gbc 1 tbcov 100 rlcov 100 topc 0 botc 0 poverlap 0 doverlap 1 lmin 0.15 wmin 0.42 compatible {sky130_fd_pr__pfet_01v8 sky130_fd_pr__pfet_01v8_lvt sky130_fd_pr__pfet_01v8_hvt sky130_fd_pr__pfet_g5v0d10v5} full_metal 1 viasrc 100 viadrn 100 viagate 100 viagb 0 viagr 0 viagl 0 viagt 0

# cell sky130_fd_pr__pfet_01v8_VQXXLL: kit device sky130_fd_pr__pfet_01v8, w 1 l 0.5 m 1 nf 2 diffcov 100 polycov 100 guard 0 glc 1 grc 1 gtc 1 gbc 1 tbcov 100 rlcov 100 topc 1 botc 1 poverlap 0 doverlap 1 lmin 0.15 wmin 0.42 compatible {sky130_fd_pr__pfet_01v8 sky130_fd_pr__pfet_01v8_lvt sky130_fd_pr__pfet_01v8_hvt sky130_fd_pr__pfet_g5v0d10v5} full_metal 1 viasrc 100 viadrn 100 viagate 80 viagb 0 viagr 0 viagl 0 viagt 0

# cell sky130_fd_pr__pfet_01v8_2ZH9AN: kit device sky130_fd_pr__pfet_01v8, w 2 l 0.15 m 1 nf 1 diffcov 100 polycov 100 guard 0 glc 1 grc 1 gtc 1 gbc 1 tbcov 100 rlcov 100 topc 0 botc 0 poverlap 0 doverlap 1 lmin 0.15 wmin 0.42 compatible {sky130_fd_pr__pfet_01v8 sky130_fd_pr__pfet_01v8_lvt sky130_fd_pr__pfet_01v8_hvt sky130_fd_pr__pfet_g5v0d10v5} full_metal 1 viasrc 100 viadrn 100 viagate 100 viagb 0 viagr 0 viagl 0 viagt 0

# cell sky130_fd_pr__pfet_01v8_SDE6B7: kit device sky130_fd_pr__pfet_01v8, w 2 l 1 m 1 nf 2 diffcov 100 polycov 100 guard 0 glc 1 grc 1 gtc 1 gbc 1 tbcov 100 rlcov 100 topc 1 botc 1 poverlap 0 doverlap 1 lmin 0.15 wmin 0.42 compatible {sky130_fd_pr__pfet_01v8 sky130_fd_pr__pfet_01v8_lvt sky130_fd_pr__pfet_01v8_hvt sky130_fd_pr__pfet_g5v0d10v5} full_metal 1 viasrc 100 viadrn 100 viagate 70 viagb 0 viagr 0 viagl 0 viagt 0

# cell sky130_fd_pr__nfet_01v8_6H9P4D: kit device sky130_fd_pr__nfet_01v8, w 1 l 0.150 m 1 nf 1 diffcov 100 polycov 100 guard 0 glc 1 grc 1 gtc 1 gbc 1 tbcov 100 rlcov 100 topc 0 botc 0 poverlap 0 doverlap 1 lmin 0.15 wmin 0.42 compatible {sky130_fd_pr__nfet_01v8 sky130_fd_pr__nfet_01v8_lvt sky130_fd_bs_flash__special_sonosfet_star sky130_fd_pr__nfet_g5v0d10v5 sky130_fd_pr__nfet_05v0_nvt sky130_fd_pr__nfet_03v3_nvt} full_metal 1 viasrc 100 viadrn 100 viagate 100 viagb 0 viagr 0 viagl 0 viagt 0

# cell sky130_fd_pr__nfet_01v8_DB328X: kit device sky130_fd_pr__nfet_01v8, w 1 l 0.8 m 1 nf 4 diffcov 100 polycov 100 guard 0 glc 1 grc 1 gtc 1 gbc 1 tbcov 100 rlcov 100 topc 1 botc 1 poverlap 0 doverlap 0 lmin 0.15 wmin 0.42 compatible {sky130_fd_pr__nfet_01v8 sky130_fd_pr__nfet_01v8_lvt sky130_fd_bs_flash__special_sonosfet_star sky130_fd_pr__nfet_g5v0d10v5 sky130_fd_pr__nfet_05v0_nvt sky130_fd_pr__nfet_03v3_nvt} full_metal 1 viasrc 100 viadrn 100 viagate 100 viagb 0 viagr 0 viagl 0 viagt 0

# cell sky130_fd_pr__nfet_01v8_6C7GCL: kit device sky130_fd_pr__nfet_01v8, w 2 l 0.150 m 1 nf 1 diffcov 100 polycov 100 guard 0 glc 1 grc 1 gtc 1 gbc 1 tbcov 100 rlcov 100 topc 0 botc 0 poverlap 0 doverlap 0 lmin 0.15 wmin 0.42 compatible {sky130_fd_pr__nfet_01v8 sky130_fd_pr__nfet_01v8_lvt sky130_fd_bs_flash__special_sonosfet_star sky130_fd_pr__nfet_g5v0d10v5 sky130_fd_pr__nfet_05v0_nvt sky130_fd_pr__nfet_03v3_nvt} full_metal 0 viasrc 100 viadrn 100 viagate 100 viagb 0 viagr 0 viagl 0 viagt 0

# cell sky130_fd_pr__nfet_01v8_8UM39F: kit device sky130_fd_pr__nfet_01v8, w 2 l 1 m 1 nf 2 diffcov 100 polycov 100 guard 0 glc 1 grc 1 gtc 1 gbc 1 tbcov 100 rlcov 100 topc 1 botc 1 poverlap 0 doverlap 0 lmin 0.15 wmin 0.42 compatible {sky130_fd_pr__nfet_01v8 sky130_fd_pr__nfet_01v8_lvt sky130_fd_bs_flash__special_sonosfet_star sky130_fd_pr__nfet_g5v0d10v5 sky130_fd_pr__nfet_05v0_nvt sky130_fd_pr__nfet_03v3_nvt} full_metal 0 viasrc 100 viadrn 100 viagate 60 viagb 0 viagr 0 viagl 0 viagt 0
